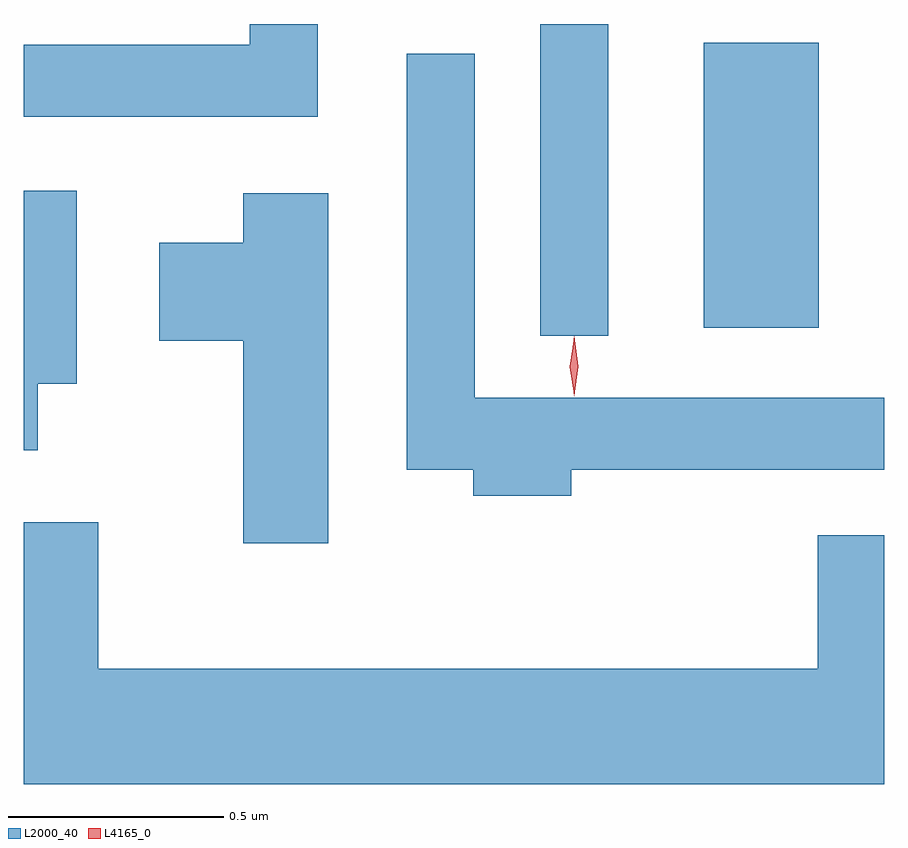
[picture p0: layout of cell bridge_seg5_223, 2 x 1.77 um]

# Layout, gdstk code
import gdstk
lib = gdstk.Library(unit=1e-6, precision=1e-09)
def R(c, l, rs):  # rectangles x0, y0, x1, y1
    for r in rs: c.add(gdstk.rectangle(r[:2], r[2:], *l))
def P(c, l, *ps):  # polygons
    for p in ps: c.add(gdstk.Polygon(p, *l))
L2000_40 = (2000, 40)
L4165_0 = (4165, 0)

bridge_seg5_223 = lib.new_cell('bridge_seg5_223')
R(bridge_seg5_223, L2000_40, [(1307.116,1428.978,1307.274,1429.702), (1307.496,1428.996,1307.764,1429.659)])
P(bridge_seg5_223, L2000_40, [(1306.599,1429.702),(1306.441,1429.702),(1306.441,1429.654),(1305.916,1429.654),(1305.916,1429.486),(1306.599,1429.486)],
  [(1307.189,1428.666),(1307.916,1428.666),(1307.916,1428.834),(1306.964,1428.834),(1306.964,1429.633),(1306.806,1429.633),(1306.806,1428.666),(1306.961,1428.666),(1306.961,1428.606),(1307.189,1428.606)],
  [(1305.949,1428.866),(1306.039,1428.866),(1306.039,1429.314),(1305.916,1429.314),(1305.916,1428.711),(1305.949,1428.711)],
  [(1306.624,1429.309),(1306.426,1429.309),(1306.426,1429.194),(1306.231,1429.194),(1306.231,1428.966),(1306.426,1428.966),(1306.426,1428.496),(1306.624,1428.496)],
  [(1307.916,1428.514),(1307.761,1428.514),(1307.761,1428.204),(1306.089,1428.204),(1306.089,1428.544),(1305.916,1428.544),(1305.916,1427.936),(1307.916,1427.936)])
P(bridge_seg5_223, L4165_0, [(1307.195,1428.839),(1307.195,1428.84),(1307.185,1428.906),(1307.195,1428.972),(1307.195,1428.973),(1307.196,1428.972),(1307.205,1428.906),(1307.196,1428.84)],
  [(1307.196,1428.837),(1307.195,1428.838),(1307.186,1428.907),(1307.195,1428.976),(1307.196,1428.976),(1307.196,1428.976),(1307.205,1428.907),(1307.196,1428.838)])

lib.write_gds('bridge_seg5_223.gds')
